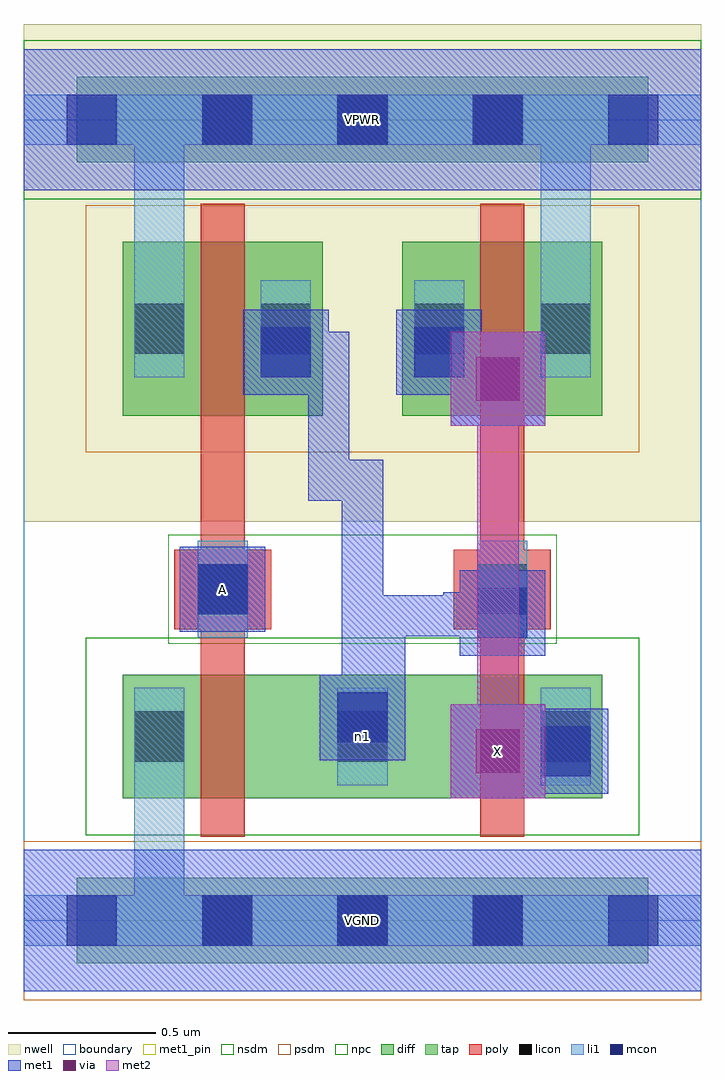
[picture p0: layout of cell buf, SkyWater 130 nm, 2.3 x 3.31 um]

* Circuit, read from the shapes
.subckt buf A VGND VPWR X n1
XM1 n1 A VGND VGND sky130_fd_pr__nfet_01v8 w=0.42 l=0.15
XM2 X n1 n1 VGND sky130_fd_pr__nfet_01v8 w=0.42 l=0.15
XM3 n1 A VPWR VPWR sky130_fd_pr__pfet_01v8 w=0.59 l=0.15
XM4 VPWR n1 X VPWR sky130_fd_pr__pfet_01v8 w=0.59 l=0.15
.ends

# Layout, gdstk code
import gdstk
lib = gdstk.Library(unit=1e-6, precision=1e-09)
def R(c, l, rs):  # rectangles x0, y0, x1, y1
    for r in rs: c.add(gdstk.rectangle(r[:2], r[2:], *l))
def A(c, l, x, y, w, h, nx, ny, dx, dy):  # array of equal rectangles
    R(c, l, [(x+i*dx, y+j*dy, x+i*dx+w, y+j*dy+h) for i in range(nx) for j in range(ny)])
nwell = (64, 20)
diff = (65, 20)
tap = (65, 44)
poly = (66, 20)
licon = (66, 44)
li1 = (67, 20)
mcon = (67, 44)
met1_pin = (68, 16)
met1 = (68, 20)
via = (68, 44)
met2 = (69, 20)
nsdm = (93, 44)
psdm = (94, 20)
npc = (95, 20)
boundary = (235, 4)

buf = lib.new_cell('buf')
R(buf, nwell, [(0,1.355,2.3,3.045)])
R(buf, diff, [(0.335,0.415,1.965,0.835), (0.335,1.715,1.015,2.305), (1.285,1.715,1.965,2.305)])
R(buf, tap, [(0.18,-0.145,2.12,0.145), (0.18,2.575,2.12,2.865)])
R(buf, poly, [(0.6,0.285,0.75,2.435), (1.55,0.285,1.7,2.435), (0.51,0.99,0.84,1.26), (1.46,0.99,1.79,1.26)])
A(buf, licon, 0.605, -0.085, 0.17, 0.17, 3, 2, 0.46, 2.72)
A(buf, licon, 0.375, 0.54, 0.17, 0.17, 3, 1, 0.69, 0)
R(buf, licon, [(0.59,1.04,0.76,1.21), (1.54,1.04,1.71,1.21), (0.375,1.925,0.545,2.095), (0.805,1.925,0.975,2.095), (1.325,1.925,1.495,2.095), (1.755,1.925,1.925,2.095)])
A(buf, li1, 0.375, 0.46, 0.17, 0.33, 3, 1, 0.69, 0)
R(buf, li1, [(0,-0.085,2.3,0.085), (0.375,-0.085,0.545,0.79), (0.59,0.96,0.76,1.29), (1.54,0.96,1.71,1.29), (0.375,1.845,0.545,2.175), (0.375,1.845,0.545,2.805), (0.805,1.845,0.975,2.175), (1.325,1.845,1.495,2.175), (1.755,1.845,1.925,2.175), (1.755,1.845,1.925,2.805), (0,2.635,2.3,2.805)])
A(buf, mcon, 0.145, -0.085, 0.17, 0.17, 5, 2, 0.46, 2.72)
R(buf, mcon, [(1.755,0.49,1.925,0.66), (1.065,0.605,1.235,0.775), (1.54,0.96,1.71,1.13), (0.59,1.04,0.76,1.21), (0.805,1.845,0.975,2.015), (1.325,1.845,1.495,2.015)])
R(buf, met1_pin, [(0,-0.24,2.3,0.24), (1.45,0.415,1.77,0.735), (0.53,0.98,0.82,1.27), (0,2.48,2.3,2.96)])
R(buf, met1, [(0,-0.24,2.3,0.24), (1.45,0.415,1.77,0.735), (1.695,0.43,1.985,0.72), (1.54,0.505,1.91,0.645), (1.005,0.545,1.295,0.835), (1.08,0.62,1.22,1.105), (1.08,0.835,1.295,0.965), (1.48,0.9,1.77,1.19), (1.08,0.965,1.565,1.105), (1.08,0.965,1.22,1.565), (1.425,0.965,1.565,1.115), (1.425,0.975,1.695,1.115), (0.53,0.98,0.82,1.27), (0.965,1.425,1.105,1.91), (0.965,1.425,1.22,1.565), (1.45,1.68,1.77,2), (0.965,1.77,1.105,2), (1.54,1.77,1.68,2), (0.745,1.785,1.035,2.075), (1.265,1.785,1.555,2.075), (0.82,1.86,1.105,2), (1.34,1.86,1.68,2), (0,2.48,2.3,2.96)])
R(buf, via, [(1.535,0.5,1.685,0.65), (1.535,1.765,1.685,1.915)])
R(buf, met2, [(1.45,0.415,1.77,0.735), (1.54,0.505,1.68,1.91), (1.45,1.68,1.77,2)])
R(buf, nsdm, [(0.21,0.29,2.09,0.96), (0,2.45,2.3,2.99)])
R(buf, psdm, [(0,-0.27,2.3,0.27), (0.21,1.59,2.09,2.43)])
R(buf, npc, [(0.49,0.94,1.81,1.31)])
R(buf, boundary, [(0,0,2.3,2.72)])
buf.add(gdstk.Label('n1', (1.15,0.625), layer=67, texttype=5))
buf.add(gdstk.Label('A', (0.675,1.125), layer=68, texttype=5))
buf.add(gdstk.Label('X', (1.61,0.575), layer=68, texttype=5))
buf.add(gdstk.Label('VPWR', (1.15,2.72), layer=68, texttype=5))
buf.add(gdstk.Label('VGND', (1.15,0), layer=68, texttype=5))
buf.add(gdstk.Label('A', (0.675,1.125), layer=68, texttype=16))
buf.add(gdstk.Label('X', (1.61,0.575), layer=68, texttype=16))
buf.add(gdstk.Label('VPWR', (1.15,2.72), layer=68, texttype=16))
buf.add(gdstk.Label('VGND', (1.15,0), layer=68, texttype=16))

lib.write_gds('buf.gds')
